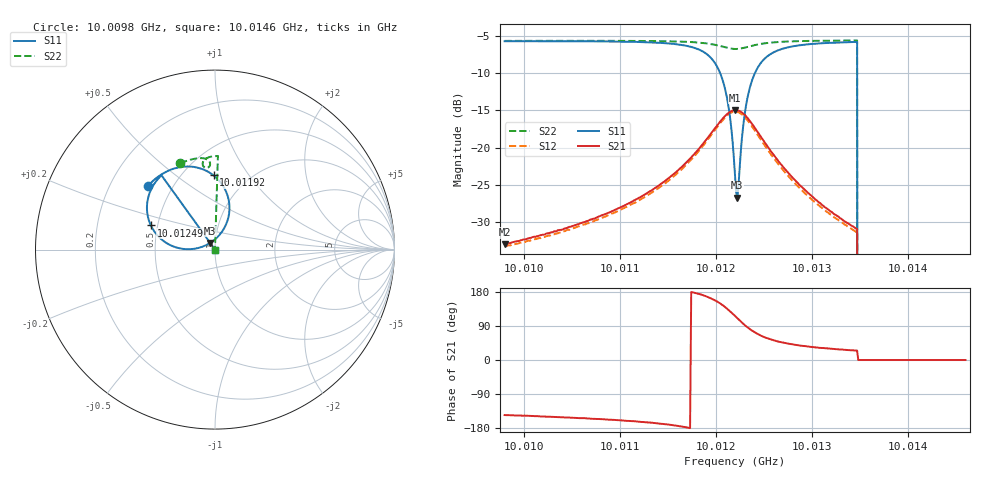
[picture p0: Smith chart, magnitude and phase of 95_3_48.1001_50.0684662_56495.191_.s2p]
#  HZ  S  RI  R  50.00
! Rohde & Schwarz Vector Network Analyzer
! Rohde-Schwarz,ZNB20-2Port,1311601062101988,3.16
! Created: UTC 12/23/2023, 3:44:11 AM
! freq[Hz]  re:S11  im:S11  re:S21  im:S21  re:S12  im:S12  re:S22  im:S22
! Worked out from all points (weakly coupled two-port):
!   401 points, 10.0098 GHz to 10.0146 GHz, reference 50 ohm
!   highest |S21| = -14.98 dB at 10.0122 GHz (marker M1); lowest = -33.0 dB at 10.0098 GHz (marker M2)
!   lowest |S11| = -26.7 dB at 10.01222 GHz (marker M3), VSWR 1.10, Z = 47.1 + j3.42 ohm
!   |S11| at or under -10 dB: 10.01204 GHz to 10.01241 GHz (363.9 kHz wide, 0.00363 % of centre); 10.01347 GHz to end of sweep
!   |S22| runs from - to -5.6 dB; largest |S21 - S12| = 0.0084
!   S11 on the Smith chart (normalised r, x): 10.0098 GHz: 0.36, +0.35; 10.01192 GHz: 0.70, +0.70; 10.01249 GHz: 0.46, +0.14; 10.0146 GHz: 1.00, +0.00
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1.0009801e10  -0.3759 0.3531  -0.0185 -0.0128  -0.0173 -0.0134  -0.1936 0.481
1.0010605e10  -0.3203 0.4035  -0.028 -0.0139  -0.0262 -0.0147  -0.1425 0.499
1.0011072e10  -0.2715 0.4339  -0.0393 -0.0138  -0.037 -0.0155  -0.11 0.5067
1.0011408e10  -0.2155 0.4553  -0.0544 -0.0118  -0.0518 -0.0143  -0.0841 0.5097
1.0011744e10  -0.1099 0.4593  -0.0858 0.00083  -0.083 -0.00377  -0.0536 0.5065
1.0011924e10  -0.00806 0.4135  -0.1143 0.0296  -0.1124 0.0226  -0.0349 0.4955
1.0012032e10  0.0611 0.3246  -0.128 0.0693  -0.128 0.0614  -0.0275 0.4809
1.0012104e10  0.0803 0.2211  -0.1226 0.1098  -0.1247 0.1018  -0.029 0.4678
1.0012152e10  0.0614 0.1396  -0.1063 0.1378  -0.1096 0.1302  -0.0347 0.4599
1.00122e10  0.00888 0.065  -0.0795 0.1596  -0.0825 0.1532  -0.0442 0.4554
1.0012224e10  -0.0286 0.0363  -0.0626 0.1666  -0.0655 0.1602  -0.0494 0.4552
1.0012236e10  -0.0497 0.0246  -0.0534 0.1687  -0.0566 0.1626  -0.0519 0.4556
1.0012296e10  -0.1588 0.00238  -0.00981 0.1663  -0.0149 0.1606  -0.0629 0.4619
1.0012332e10  -0.2185 0.0127  0.0117 0.1569  0.00624 0.1516  -0.0669 0.4678
1.0012404e10  -0.3053 0.0633  0.0391 0.1305  0.0333 0.1264  -0.069 0.4806
1.0012488e10  -0.3573 0.1343  0.053 0.1003  0.0468 0.0976  -0.0647 0.4928
1.0012704e10  -0.3769 0.2652  0.0516 0.0526  0.0468 0.0524  -0.0455 0.51
1.0013003e10  -0.3471 0.3523  0.0388 0.0264  0.0355 0.0269  -0.0193 0.5184
1.0013447e10  -0.3009 0.412  0.0263 0.0124  0.0244 0.013  0.0144 0.5217
1.0013507e10  0 0  0 0  0 0  0 0
1.0013807e10  0 0  0 0  0 0  0 0
1.0014599e10  0 0  0 0  0 0  0 0
